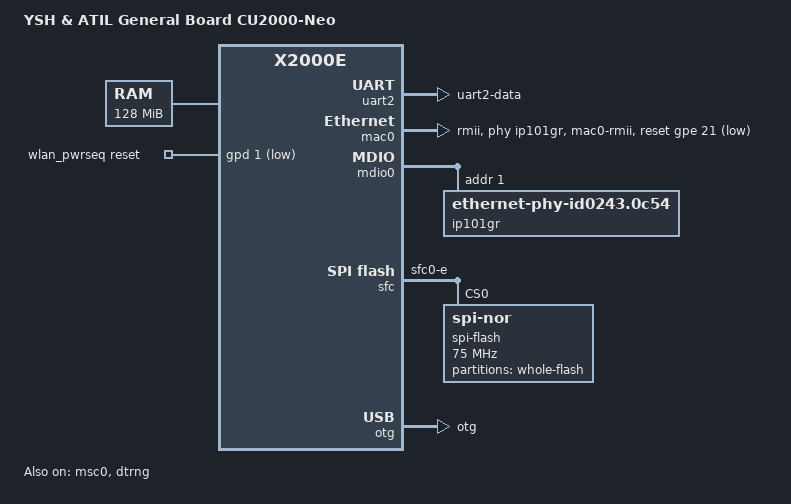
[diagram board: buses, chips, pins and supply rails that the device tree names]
/dts-v1/;

#include "x2000.dtsi"
#include <dt-bindings/gpio/gpio.h>
#include <dt-bindings/input/input.h>
#include <dt-bindings/clock/ingenic,sysost.h>
#include <dt-bindings/interrupt-controller/irq.h>


/ {
	compatible = "ingenic,cu2000-neo", "ingenic,x2000e";
	model = "YSH & ATIL General Board CU2000-Neo";

	aliases: aliases {
		serial0 = &uart0;
		serial2 = &uart2;
		serial3 = &uart3;
	};

	chosen {
		stdout-path = "serial2:115200n8";
	};

	memory {
		device_type = "memory";
		reg = <0x0 0x08000000>;
	};

	wlan_pwrseq: msc1-pwrseq {
		compatible = "mmc-pwrseq-simple";

		reset-gpios = <&gpd 1 GPIO_ACTIVE_LOW>;
		post-power-on-delay-ms = <200>;
		enable-active-high;
	};
};

&exclk {
	clock-frequency = <24000000>;
};

&cgu {
	/*
	 * Use the 32.768 kHz oscillator as the parent of the RTC for a higher
	 * precision.
	 */
	assigned-clocks = <&cgu X2000_CLK_RTC>;
	assigned-clock-parents = <&cgu X2000_CLK_RTCLK>;
};

&ost64 {
	/* 6 MHz for the clocksource */
	assigned-clocks = <&ost64 OST_CLK_GLOBAL_TIMER>;
	assigned-clock-rates = <6000000>;
};

&ost32 {
	/* 6 MHz for the system timers */
	assigned-clocks = <&ost32 OST_CLK_EVENT_TIMER0>, <&ost32 OST_CLK_EVENT_TIMER1>;
	assigned-clock-rates = <6000000>, <6000000>;
};

&uart2 {
	status = "okay";

	pinctrl-names = "default";
	pinctrl-0 = <&pins_uart2>;
};

&i2c4 {
	status = "disable";

	clock-frequency = <400000>;

	pinctrl-names = "default";
	pinctrl-0 = <&pins_i2c4>;

	gt911: touchscreen@14{
		compatible = "goodix,gt911";
		reg = <0x14>;

		interrupt-parent = <&gpc>;
		interrupts = <27 IRQ_TYPE_EDGE_FALLING>;

		irq-gpios = <&gpc 27 GPIO_ACTIVE_HIGH>;
	};
};

&pdma {
	status = "okay";
};

&msc0 {
	status = "okay";

	bus-width = <8>;
	max-frequency = <100000000>;
	voltage-ranges = <1800 3300>;

	pinctrl-names = "default";
	pinctrl-0 = <&pins_msc0>;

	non-removable;
	mmc-hs200-1_8v;
};

&msc1 {
	status = "disable";

	#address-cells = <1>;
	#size-cells = <0>;
	bus-width = <4>;
	max-frequency = <25000000>;
	voltage-ranges = <1800 3300>;

	pinctrl-names ="default";
	pinctrl-0 = <&pins_msc1>;

	no-1-8-v;
	non-removable;
	wifi-host;

	mmc-pwrseq = <&wlan_pwrseq>;

	ap6256: wifi@1 {
		compatible = "brcm,bcm4329-fmac";
		reg = <1>;

		interrupt-parent = <&gpd>;
		interrupts = <0 IRQ_TYPE_EDGE_FALLING>;
		interrupt-names = "host-wake";

		brcm,drive-strength = <8>;
	};
};

&msc2 {
	status = "disable";

	bus-width = <4>;
	max-frequency = <25000000>;
	voltage-ranges = <1800 3300>;

	pinctrl-names ="default";
	pinctrl-0 = <&pins_msc2>;
};

&mac0 {
	status = "okay";

	phy-mode = "rmii";
	phy-handle = <&ip101gr>;

	pinctrl-names = "default";
	pinctrl-0 = <&pins_mac0>;

	snps,reset-gpio = <&gpe 21 GPIO_ACTIVE_LOW>; /* PE21 */
	snps,reset-active-low;
	snps,reset-delays-us = <0 10000 30000>;
};

&mdio0 {
	status = "okay";

	ip101gr: ethernet-phy@1 {
		compatible = "ethernet-phy-id0243.0c54", "ethernet-phy-ieee802.3-c22";
		reg = <1>;
	};
};

&sfc {
	status = "okay";

	#address-cells = <1>;
	#size-cells = <0>;
	spi-max-frequency = <150000000>;

	pinctrl-names = "default";
	pinctrl-0 = <&pins_sfc>;

	spi-flash@0 {
		compatible = "jedec,spi-nor";
		#address-cells = <1>;
		#size-cells = <1>;
		reg = <0>;

		spi-rx-bus-width = <4>;
		spi-tx-bus-width = <4>;
		spi-max-frequency = <75000000>;

		partitions {
			compatible = "fixed-partitions";
			#address-cells = <1>;
			#size-cells = <1>;

			partition@0 {
				label = "whole-flash";
				reg = <0x0 0x2000000>;
			};
		};
	};
};

&ssi0 {
	status = "disable";

	pinctrl-names = "default";
	pinctrl-0 = <&pins_ssi0>;

	spi-max-frequency = <54000000>;
	num-cs = <2>;
	cs-gpios = <0>, <0>;
	/*cs-gpios = <&gpa 27 GPIO_ACTIVE_HIGH>, <&gpa 27 GPIO_ACTIVE_HIGH>;*/
	ingenic,chnl = <0>;
	ingenic,allow_cs_same = <1>;
	ingenic,bus_num = <0>;
	ingenic,has_dma_support = <0>;
	ingenic,spi-src-clk = <1>;/*0.ext; 1.ssi*/

	/* Add SPI interface device */
	spidev: spidev@0 {
		compatible = "rohm,dh2228fv";
		reg = <0>;
		spi-max-frequency = <10000000>;
	};
};

&dtrng {
	status = "okay";
};

&otg {
	status = "okay";

	g-use-dma;
	dr_mode = "otg";
};

&pinctrl {
	pins_uart2: uart2 {
		function = "uart2";
		groups = "uart2-data";
		bias-pull-up;
	};

	pins_uart3: uart3 {
		function = "uart3";
		groups = "uart3-data-c", "uart3-hwflow-c";
		bias-pull-up;
	};

	pins_i2c4: i2c4 {
		function = "i2c4";
		groups = "i2c4-data-c";
		bias-pull-up;
	};

	pins_msc0: msc0 {
		function = "mmc0";
		groups = "mmc0-1bit", "mmc0-4bit", "mmc0-8bit";
		bias-disable;
	};

	pins_msc1: msc1 {
		function = "mmc1";
		groups = "mmc1-1bit", "mmc1-4bit";
		bias-disable;
	};

	pins_msc2: msc2 {
		function = "mmc2";
		groups = "mmc2-1bit", "mmc2-4bit";
		bias-disable;
	};

	pins_mac0: mac0 {
		function = "mac0";
		groups = "mac0-rmii";
		bias-disable;
	};

	pins_sfc: sfc {
		function = "sfc";
		groups = "sfc0-e";
		bias-disable;
	};

	pins_ssi0: ssi0 {
		function = "sfc";
		groups = "ssi0-dt-b", "ssi0-dr-b", "ssi0-clk-b", "ssi0-ce0-b";
		bias-disable;
	};
};
